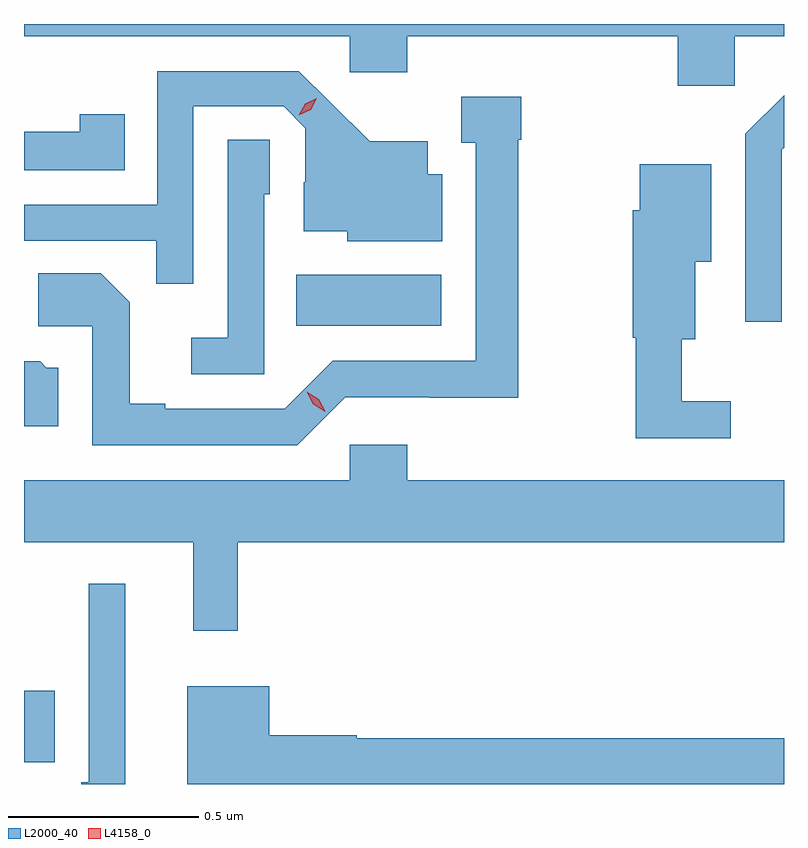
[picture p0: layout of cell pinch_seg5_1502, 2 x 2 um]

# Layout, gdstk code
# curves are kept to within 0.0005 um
import gdstk
lib = gdstk.Library(unit=1e-6, precision=1e-09)
def R(c, l, rs):  # rectangles x0, y0, x1, y1
    for r in rs: c.add(gdstk.rectangle(r[:2], r[2:], *l))
def P(c, l, *ps):  # polygons
    for p in ps: c.add(gdstk.Polygon(p, *l))
L2000_40 = (2000, 40)
L4158_0 = (4158, 0)

pinch_seg5_1502 = lib.new_cell('pinch_seg5_1502')
R(pinch_seg5_1502, L2000_40, [(133.987,890.813,134.068,891.001), (134.704,891.962,135.085,892.096)])
P(pinch_seg5_1502, L2000_40, [(133.987,892.724),(134.844,892.724),(134.844,892.629),(134.996,892.629),(134.996,892.724),(135.707,892.724),(135.707,892.593),(135.858,892.593),(135.858,892.724),(135.987,892.724),(135.987,892.756),(133.987,892.756)],
  [(134.433,892.539),(134.67,892.539),(134.727,892.482),(134.727,892.34),(134.723,892.34),(134.723,892.211),(134.838,892.211),(134.838,892.184),(135.088,892.184),(135.088,892.36),(135.049,892.36),(135.049,892.447),(134.897,892.447),(134.71,892.632),(134.337,892.632),(134.337,892.281),(133.987,892.281),(133.987,892.185),(134.335,892.185),(134.335,892.072),(134.433,892.072)],
  [(135.981,892.425),(135.987,892.431),(135.987,892.569),(135.885,892.467),(135.885,891.972),(135.981,891.972)],
  [(134.832,891.774),(135.054,891.774),(135.054,891.773),(135.287,891.773),(135.287,892.451),(135.295,892.451),(135.295,892.564),(135.137,892.564),(135.137,892.443),(135.176,892.443),(135.176,891.87),(134.799,891.87),(134.673,891.744),(134.359,891.744),(134.359,891.757),(134.265,891.757),(134.265,892.024),(134.189,892.1),(134.025,892.1),(134.025,891.96),(134.166,891.96),(134.166,891.648),(134.706,891.648)],
  [(134.252,892.519),(134.134,892.519),(134.134,892.472),(133.987,892.472),(133.987,892.371),(134.252,892.371)],
  [(134.619,892.308),(134.634,892.308),(134.634,892.451),(134.523,892.451),(134.523,891.931),(134.427,891.931),(134.427,891.834),(134.619,891.834)],
  [(135.847,891.763),(135.718,891.763),(135.718,891.926),(135.754,891.926),(135.754,892.13),(135.796,892.13),(135.796,892.387),(135.608,892.387),(135.608,892.266),(135.589,892.266),(135.589,891.93),(135.597,891.93),(135.597,891.666),(135.847,891.666)],
  [(134.077,891.852),(134.046,891.852),(134.03,891.868),(133.987,891.868),(133.987,891.698),(134.077,891.698)],
  [(134.549,891.392),(135.987,891.392),(135.987,891.556),(134.996,891.556),(134.996,891.649),(134.844,891.649),(134.844,891.556),(133.987,891.556),(133.987,891.392),(134.432,891.392),(134.432,891.159),(134.549,891.159)],
  [(134.254,891.283),(134.157,891.283),(134.157,890.761),(134.137,890.761),(134.137,890.756),(134.254,890.756)],
  [(135.987,890.876),(134.862,890.876),(134.862,890.884),(134.632,890.884),(134.632,891.013),(134.417,891.013),(134.417,890.756),(135.987,890.756)])
P(pinch_seg5_1502, L4158_0, [(134.78,891.736),(134.748,891.756),(134.731,891.788),(134.731,891.788),(134.731,891.788),(134.763,891.769),(134.78,891.737),(134.78,891.736)],
  [(134.71,892.516),(134.71,892.516),(134.727,892.546),(134.757,892.561),(134.758,892.561),(134.758,892.561),(134.741,892.531),(134.71,892.516)])

lib.write_gds('pinch_seg5_1502.gds')
